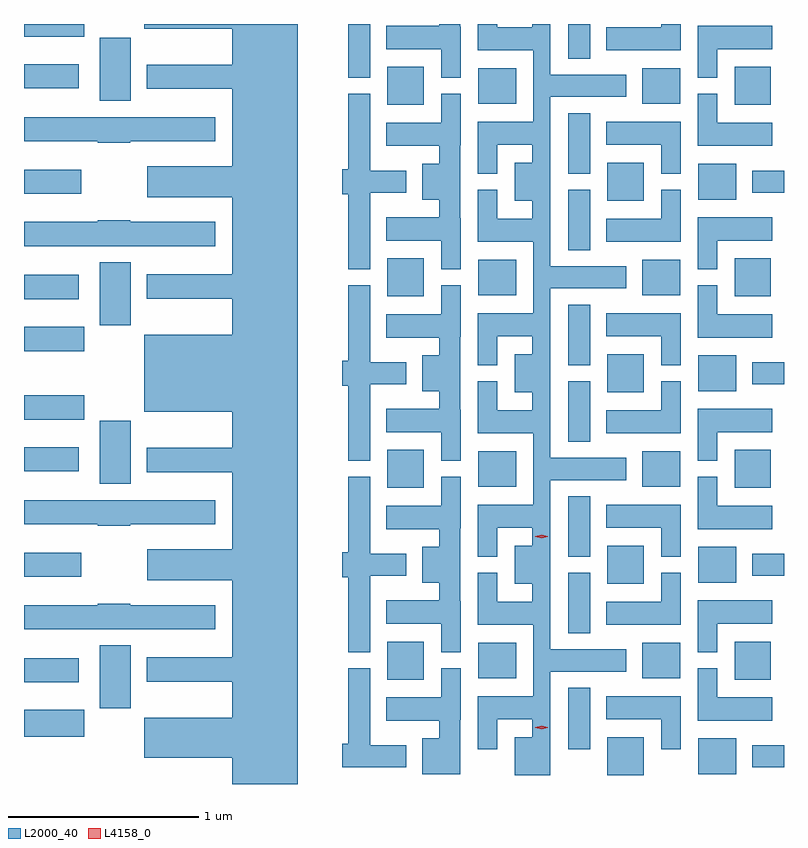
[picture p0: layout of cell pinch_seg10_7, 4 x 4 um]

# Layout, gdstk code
import gdstk
lib = gdstk.Library(unit=1e-6, precision=1e-09)
def R(c, l, rs):  # rectangles x0, y0, x1, y1
    for r in rs: c.add(gdstk.rectangle(r[:2], r[2:], *l))
def A(c, l, x, y, w, h, nx, ny, dx, dy):  # array of equal rectangles
    R(c, l, [(x+i*dx, y+j*dy, x+i*dx+w, y+j*dy+h) for i in range(nx) for j in range(ny)])
def P(c, l, *ps):  # polygons
    for p in ps: c.add(gdstk.Polygon(p, *l))
L2000_40 = (2000, 40)
L4158_0 = (4158, 0)

pinch_seg10_7 = lib.new_cell('pinch_seg10_7')
A(pinch_seg10_7, L2000_40, 1073.231, 1292.33, 0.191, 0.2, 1, 4, 0, 1.008)
A(pinch_seg10_7, L2000_40, 1073.708, 1292.336, 0.2, 0.188, 1, 4, 0, 1.008)
A(pinch_seg10_7, L2000_40, 1073.993, 1292.372, 0.167, 0.116, 1, 4, 0, 1.008)
A(pinch_seg10_7, L2000_40, 1072.073, 1292.834, 0.191, 0.2, 1, 4, 0, 1.008)
A(pinch_seg10_7, L2000_40, 1073.9, 1292.834, 0.191, 0.2, 1, 4, 0, 1.008)
A(pinch_seg10_7, L2000_40, 1072.55, 1292.84, 0.2, 0.188, 1, 4, 0, 1.008)
A(pinch_seg10_7, L2000_40, 1073.414, 1292.84, 0.2, 0.188, 1, 4, 0, 1.008)
A(pinch_seg10_7, L2000_40, 1073.024, 1293.077, 0.116, 0.319, 1, 3, 0, 1.008)
A(pinch_seg10_7, L2000_40, 1073.024, 1293.481, 0.116, 0.318, 1, 3, 0, 1.008)
R(pinch_seg10_7, L2000_40, [(1073.024,1292.466,1073.14,1292.791), (1070.16,1292.534,1070.476,1292.674), (1070.558,1292.682,1070.722,1293.013), (1070.16,1292.819,1070.449,1292.947), (1070.16,1293.374,1070.461,1293.502), (1070.558,1293.863,1070.722,1294.195), (1070.16,1293.929,1070.449,1294.057), (1070.16,1294.202,1070.476,1294.33), (1070.16,1294.562,1070.476,1294.69), (1070.558,1294.698,1070.722,1295.029), (1070.16,1294.835,1070.449,1294.963), (1070.16,1295.39,1070.461,1295.518), (1070.558,1295.879,1070.722,1296.211), (1070.16,1295.945,1070.449,1296.073), (1071.866,1296.001,1071.982,1296.284), (1073.024,1296.101,1073.14,1296.284), (1070.16,1296.218,1070.476,1296.284)])
P(pinch_seg10_7, L2000_40, [(1072.931,1292.876),(1073.329,1292.876),(1073.329,1292.992),(1072.931,1292.992),(1072.931,1293.884),(1073.329,1293.884),(1073.329,1294),(1072.931,1294),(1072.931,1294.892),(1073.329,1294.892),(1073.329,1295.008),(1072.931,1295.008),(1072.931,1295.9),(1073.329,1295.9),(1073.329,1296.016),(1072.931,1296.016),(1072.931,1296.284),(1072.836,1296.284),(1072.836,1296.268),(1072.651,1296.268),(1072.651,1296.284),(1072.547,1296.284),(1072.547,1296.146),(1072.84,1296.146),(1072.84,1295.77),(1072.547,1295.77),(1072.547,1295.497),(1072.651,1295.497),(1072.651,1295.648),(1072.836,1295.648),(1072.836,1295.554),(1072.742,1295.554),(1072.742,1295.354),(1072.836,1295.354),(1072.836,1295.26),(1072.651,1295.26),(1072.651,1295.412),(1072.547,1295.412),(1072.547,1295.138),(1072.84,1295.138),(1072.84,1294.762),(1072.547,1294.762),(1072.547,1294.489),(1072.651,1294.489),(1072.651,1294.64),(1072.836,1294.64),(1072.836,1294.546),(1072.742,1294.546),(1072.742,1294.346),(1072.836,1294.346),(1072.836,1294.252),(1072.651,1294.252),(1072.651,1294.404),(1072.547,1294.404),(1072.547,1294.13),(1072.84,1294.13),(1072.84,1293.754),(1072.547,1293.754),(1072.547,1293.481),(1072.651,1293.481),(1072.651,1293.632),(1072.836,1293.632),(1072.836,1293.538),(1072.742,1293.538),(1072.742,1293.338),(1072.836,1293.338),(1072.836,1293.244),(1072.651,1293.244),(1072.651,1293.396),(1072.547,1293.396),(1072.547,1293.122),(1072.84,1293.122),(1072.84,1292.746),(1072.547,1292.746),(1072.547,1292.466),(1072.651,1292.466),(1072.651,1292.624),(1072.836,1292.624),(1072.836,1292.53),(1072.742,1292.53),(1072.742,1292.33),(1072.931,1292.33)],
  [(1073.617,1296.284),(1073.513,1296.284),(1073.513,1296.268),(1073.225,1296.268),(1073.225,1296.146),(1073.617,1296.146)],
  [(1071.601,1296.284),(1070.792,1296.284),(1070.792,1296.26),(1071.257,1296.26),(1071.257,1296.07),(1070.807,1296.07),(1070.807,1295.942),(1071.257,1295.942),(1071.257,1295.536),(1070.808,1295.536),(1070.808,1295.372),(1071.257,1295.372),(1071.257,1294.966),(1070.807,1294.966),(1070.807,1294.838),(1071.257,1294.838),(1071.257,1294.648),(1070.792,1294.648),(1070.792,1294.244),(1071.257,1294.244),(1071.257,1294.054),(1070.807,1294.054),(1070.807,1293.926),(1071.257,1293.926),(1071.257,1293.52),(1070.808,1293.52),(1070.808,1293.356),(1071.257,1293.356),(1071.257,1292.95),(1070.807,1292.95),(1070.807,1292.822),(1071.257,1292.822),(1071.257,1292.632),(1070.792,1292.632),(1070.792,1292.423),(1071.257,1292.423),(1071.257,1292.284),(1071.601,1292.284)],
  [(1072.459,1296.27),(1072.456,1296.27),(1072.456,1296.284),(1072.345,1296.284),(1072.345,1296.274),(1072.067,1296.274),(1072.067,1296.152),(1072.355,1296.152),(1072.355,1296.001),(1072.459,1296.001)],
  [(1073.809,1296.152),(1074.097,1296.152),(1074.097,1296.274),(1073.705,1296.274),(1073.705,1296.001),(1073.809,1296.001)],
  [(1074.097,1295.764),(1073.809,1295.764),(1073.809,1295.916),(1073.705,1295.916),(1073.705,1295.642),(1074.097,1295.642)],
  [(1072.459,1295.262),(1072.456,1295.262),(1072.456,1295.646),(1072.459,1295.646),(1072.459,1295.916),(1072.355,1295.916),(1072.355,1295.764),(1072.067,1295.764),(1072.067,1295.642),(1072.345,1295.642),(1072.345,1295.548),(1072.256,1295.548),(1072.256,1295.36),(1072.345,1295.36),(1072.345,1295.266),(1072.067,1295.266),(1072.067,1295.144),(1072.355,1295.144),(1072.355,1294.993),(1072.459,1294.993)],
  [(1071.982,1295.396),(1072.171,1295.396),(1072.171,1295.512),(1071.982,1295.512),(1071.982,1295.916),(1071.866,1295.916),(1071.866,1295.52),(1071.836,1295.52),(1071.836,1295.389),(1071.866,1295.389),(1071.866,1294.993),(1071.982,1294.993)],
  [(1070.72,1295.666),(1071.166,1295.666),(1071.166,1295.794),(1070.16,1295.794),(1070.16,1295.666),(1070.548,1295.666),(1070.548,1295.659),(1070.72,1295.659)],
  [(1073.617,1295.77),(1073.225,1295.77),(1073.225,1295.648),(1073.513,1295.648),(1073.513,1295.497),(1073.617,1295.497)],
  [(1073.617,1295.412),(1073.513,1295.412),(1073.513,1295.26),(1073.225,1295.26),(1073.225,1295.138),(1073.617,1295.138)],
  [(1073.809,1295.144),(1074.097,1295.144),(1074.097,1295.266),(1073.705,1295.266),(1073.705,1294.993),(1073.809,1294.993)],
  [(1071.166,1295.242),(1070.72,1295.242),(1070.72,1295.25),(1070.548,1295.25),(1070.548,1295.242),(1070.16,1295.242),(1070.16,1295.114),(1071.166,1295.114)],
  [(1071.982,1294.388),(1072.171,1294.388),(1072.171,1294.504),(1071.982,1294.504),(1071.982,1294.908),(1071.866,1294.908),(1071.866,1294.512),(1071.836,1294.512),(1071.836,1294.381),(1071.866,1294.381),(1071.866,1293.985),(1071.982,1293.985)],
  [(1072.459,1294.254),(1072.456,1294.254),(1072.456,1294.638),(1072.459,1294.638),(1072.459,1294.908),(1072.355,1294.908),(1072.355,1294.756),(1072.067,1294.756),(1072.067,1294.634),(1072.345,1294.634),(1072.345,1294.54),(1072.256,1294.54),(1072.256,1294.352),(1072.345,1294.352),(1072.345,1294.258),(1072.067,1294.258),(1072.067,1294.136),(1072.355,1294.136),(1072.355,1293.985),(1072.459,1293.985)],
  [(1074.097,1294.756),(1073.809,1294.756),(1073.809,1294.908),(1073.705,1294.908),(1073.705,1294.634),(1074.097,1294.634)],
  [(1073.617,1294.762),(1073.225,1294.762),(1073.225,1294.64),(1073.513,1294.64),(1073.513,1294.489),(1073.617,1294.489)],
  [(1073.617,1294.404),(1073.513,1294.404),(1073.513,1294.252),(1073.225,1294.252),(1073.225,1294.13),(1073.617,1294.13)],
  [(1073.809,1294.136),(1074.097,1294.136),(1074.097,1294.258),(1073.705,1294.258),(1073.705,1293.985),(1073.809,1293.985)],
  [(1072.459,1293.246),(1072.456,1293.246),(1072.456,1293.63),(1072.459,1293.63),(1072.459,1293.9),(1072.355,1293.9),(1072.355,1293.748),(1072.067,1293.748),(1072.067,1293.626),(1072.345,1293.626),(1072.345,1293.532),(1072.256,1293.532),(1072.256,1293.344),(1072.345,1293.344),(1072.345,1293.25),(1072.067,1293.25),(1072.067,1293.128),(1072.355,1293.128),(1072.355,1292.977),(1072.459,1292.977)],
  [(1071.982,1293.38),(1072.171,1293.38),(1072.171,1293.496),(1071.982,1293.496),(1071.982,1293.9),(1071.866,1293.9),(1071.866,1293.504),(1071.836,1293.504),(1071.836,1293.373),(1071.866,1293.373),(1071.866,1292.977),(1071.982,1292.977)],
  [(1074.097,1293.748),(1073.809,1293.748),(1073.809,1293.9),(1073.705,1293.9),(1073.705,1293.626),(1074.097,1293.626)],
  [(1070.72,1293.65),(1071.166,1293.65),(1071.166,1293.778),(1070.16,1293.778),(1070.16,1293.65),(1070.548,1293.65),(1070.548,1293.643),(1070.72,1293.643)],
  [(1073.617,1293.754),(1073.225,1293.754),(1073.225,1293.632),(1073.513,1293.632),(1073.513,1293.481),(1073.617,1293.481)],
  [(1073.617,1293.396),(1073.513,1293.396),(1073.513,1293.244),(1073.225,1293.244),(1073.225,1293.122),(1073.617,1293.122)],
  [(1073.809,1293.128),(1074.097,1293.128),(1074.097,1293.25),(1073.705,1293.25),(1073.705,1292.977),(1073.809,1292.977)],
  [(1071.166,1293.226),(1070.72,1293.226),(1070.72,1293.234),(1070.548,1293.234),(1070.548,1293.226),(1070.16,1293.226),(1070.16,1293.098),(1071.166,1293.098)],
  [(1072.456,1292.622),(1072.459,1292.622),(1072.459,1292.892),(1072.355,1292.892),(1072.355,1292.74),(1072.067,1292.74),(1072.067,1292.618),(1072.345,1292.618),(1072.345,1292.524),(1072.256,1292.524),(1072.256,1292.336),(1072.456,1292.336)],
  [(1072.171,1292.488),(1071.982,1292.488),(1071.982,1292.892),(1071.866,1292.892),(1071.866,1292.496),(1071.836,1292.496),(1071.836,1292.372),(1072.171,1292.372)],
  [(1074.097,1292.74),(1073.809,1292.74),(1073.809,1292.892),(1073.705,1292.892),(1073.705,1292.618),(1074.097,1292.618)],
  [(1073.617,1292.746),(1073.225,1292.746),(1073.225,1292.624),(1073.513,1292.624),(1073.513,1292.466),(1073.617,1292.466)])
P(pinch_seg10_7, L4158_0, [(1072.884,1293.577),(1072.851,1293.586),(1072.851,1293.587),(1072.851,1293.587),(1072.884,1293.597),(1072.916,1293.587),(1072.916,1293.587),(1072.916,1293.586)],
  [(1072.884,1292.571),(1072.851,1292.581),(1072.851,1292.581),(1072.851,1292.582),(1072.884,1292.591),(1072.916,1292.582),(1072.916,1292.581),(1072.916,1292.581)])

lib.write_gds('pinch_seg10_7.gds')
